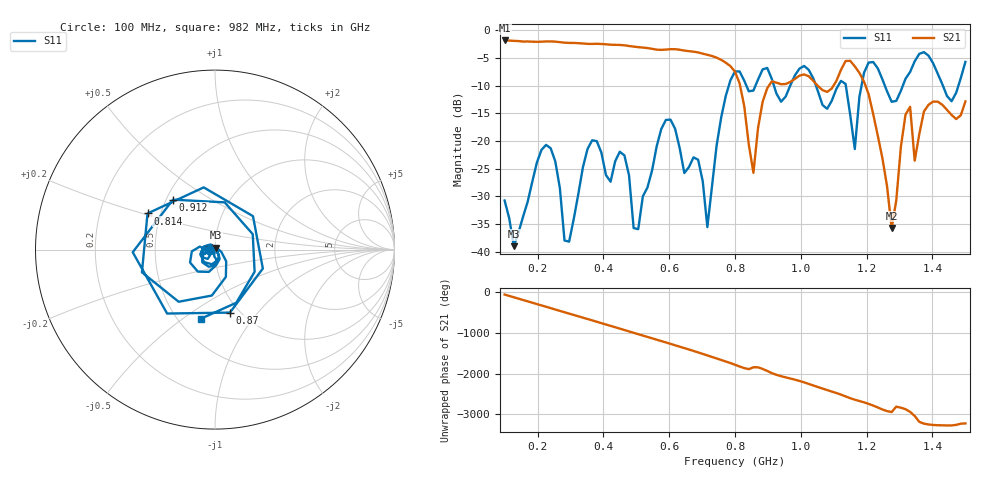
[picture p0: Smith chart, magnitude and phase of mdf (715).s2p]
! NanoVNA-App
! Date: 2025-09-25 15:43:59
! Start: 100MHz Stop: 1,5GHz Points: 101
! S-Parameter data: F S11 S21 S12 S22
# Hz S RI R 50
!  Frequency  S11_Real  S11_Imag  S21_Real  S21_Imag  S12_Real  S12_Imag  S22_Real  S22_Imag
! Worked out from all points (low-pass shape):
!   101 points, 100 MHz to 1.5 GHz, reference 50 ohm
!   highest |S21| = -1.80 dB at 100 MHz (marker M1); lowest = -35.7 dB at 1.276 GHz (marker M2)
!   |S21| within 3 dB of the highest: start of sweep to 739.2 MHz
!   lowest |S11| = -39.0 dB at 128 MHz (marker M3), VSWR 1.02, Z = 50.3 + j1.08 ohm
!   |S11| at or under -10 dB: start of sweep to 781.1 MHz; 1.046 GHz to 1.113 GHz (67.32 MHz wide, 6.23 % of centre); 1.255 GHz to 1.31 GHz (54.32 MHz wide, 4.24 % of centre) (the widest 3 of 7)
!   S12 and S22 are empty: the file has one direction only
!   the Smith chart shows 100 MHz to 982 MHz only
!   S11 on the Smith chart (normalised r, x): 100 MHz: 0.94, -0.01; 814 MHz: 0.42, +0.21; 870 MHz: 0.90, -0.73; 912 MHz: 0.54, +0.35; 982 MHz: 0.64, -0.59
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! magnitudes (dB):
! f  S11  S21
! 100 MHz  -30.7  -1.8
! 128 MHz  -39.0  -1.9
! 212 MHz  -21.6  -2.0
! 282 MHz  -38.0  -2.2
! 338 MHz  -24.7  -2.3
! 464 MHz  -22.6  -2.7
! 506 MHz  -35.9  -3.0
! 576 MHz  -17.8  -3.5
! 716 MHz  -35.5  -4.4
! 800 MHz  -7.4  -7.5
! 814 MHz  -7.4  -9.6
! 856 MHz  -10.9  -25.7
! 870 MHz  -8.9  -17.6
! 912 MHz  -8.8  -9.2
! 982 MHz  -8.1  -8.7
! 1.038 GHz  -8.7  -9.1
! 1.164 GHz  -21.4  -6.5
! 1.178 GHz  -12.0  -7.7
! 1.276 GHz  -12.9  -35.7
! 1.332 GHz  -7.5  -13.8
! 1.346 GHz  -5.6  -23.5
! 1.5 GHz  -5.7  -12.8
